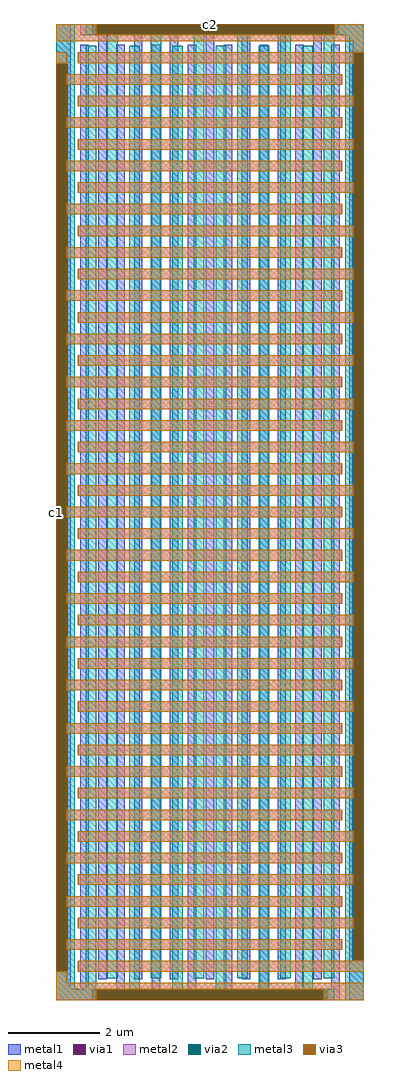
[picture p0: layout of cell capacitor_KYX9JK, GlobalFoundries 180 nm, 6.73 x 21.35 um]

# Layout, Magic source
magic
tech gf180mcuD
magscale 3 26
<< metal1 >>
rect 0 3552 55 3700
rect 91 3699 1166 3700
rect 91 3659 137 3699
rect 1069 3659 1166 3699
rect 91 3658 1166 3659
rect 0 108 1 3552
rect 41 108 55 3552
rect 0 42 55 108
rect 91 42 123 3622
rect 159 78 191 3658
rect 227 42 259 3622
rect 295 78 327 3658
rect 363 42 395 3622
rect 431 78 463 3658
rect 499 42 531 3622
rect 567 78 599 3658
rect 635 42 667 3622
rect 703 78 735 3658
rect 771 42 803 3622
rect 839 78 871 3658
rect 907 42 939 3622
rect 975 78 1007 3658
rect 1043 42 1075 3622
rect 0 41 1075 42
rect 0 1 137 41
rect 1029 1 1075 41
rect 0 0 1075 1
rect 1111 3592 1166 3658
rect 1111 148 1125 3592
rect 1165 148 1166 3592
rect 1111 0 1166 148
<< via1 >>
rect 137 3659 1069 3699
rect 1 108 41 3552
rect 137 1 1029 41
rect 1125 148 1165 3592
<< metal2 >>
rect 0 3699 152 3700
rect 1054 3699 1166 3700
rect 0 3659 137 3699
rect 1069 3659 1166 3699
rect 0 3634 1166 3659
rect 1125 3592 1166 3634
rect 0 3552 41 3592
rect 84 3552 1125 3592
rect 41 3470 1082 3510
rect 84 3388 1125 3428
rect 41 3306 1082 3346
rect 84 3224 1125 3264
rect 41 3142 1082 3182
rect 84 3060 1125 3100
rect 41 2978 1082 3018
rect 84 2896 1125 2936
rect 41 2814 1082 2854
rect 84 2732 1125 2772
rect 41 2650 1082 2690
rect 84 2568 1125 2608
rect 41 2486 1082 2526
rect 84 2404 1125 2444
rect 41 2322 1082 2362
rect 84 2240 1125 2280
rect 41 2158 1082 2198
rect 84 2076 1125 2116
rect 41 1994 1082 2034
rect 84 1912 1125 1952
rect 41 1830 1082 1870
rect 84 1748 1125 1788
rect 41 1666 1082 1706
rect 84 1584 1125 1624
rect 41 1502 1082 1542
rect 84 1420 1125 1460
rect 41 1338 1082 1378
rect 84 1256 1125 1296
rect 41 1174 1082 1214
rect 84 1092 1125 1132
rect 41 1010 1082 1050
rect 84 928 1125 968
rect 41 846 1082 886
rect 84 764 1125 804
rect 41 682 1082 722
rect 84 600 1125 640
rect 41 518 1082 558
rect 84 436 1125 476
rect 41 354 1082 394
rect 84 272 1125 312
rect 41 190 1082 230
rect 84 108 1166 148
rect 0 66 41 108
rect 0 41 1166 66
rect 0 1 137 41
rect 1029 1 1166 41
rect 0 0 152 1
rect 1014 0 1166 1
<< via2 >>
rect 152 3699 1054 3700
rect 152 3660 1054 3699
rect 0 108 1 3552
rect 1 108 40 3552
rect 1126 148 1165 3592
rect 1165 148 1166 3592
rect 152 1 1014 40
rect 152 0 1014 1
<< metal3 >>
rect 0 3552 70 3700
rect 112 3660 152 3700
rect 1054 3660 1166 3700
rect 40 108 70 3552
rect 0 40 70 108
rect 112 40 152 3618
rect 194 82 234 3660
rect 276 40 316 3618
rect 358 82 398 3660
rect 440 40 480 3618
rect 522 82 562 3660
rect 604 40 644 3618
rect 686 82 726 3660
rect 768 40 808 3618
rect 850 82 890 3660
rect 932 40 972 3618
rect 1014 82 1054 3660
rect 1096 3592 1166 3660
rect 1096 148 1126 3592
rect 0 0 152 40
rect 1014 0 1054 40
rect 1096 0 1166 148
<< via3 >>
rect 152 3660 1054 3700
rect 0 108 40 3552
rect 1126 148 1166 3592
rect 152 0 1014 40
<< metal4 >>
rect 0 3660 152 3700
rect 1054 3660 1166 3700
rect 0 3634 1166 3660
rect 1126 3592 1166 3634
rect 0 3552 40 3592
rect 82 3552 1126 3592
rect 40 3470 1084 3510
rect 82 3388 1126 3428
rect 40 3306 1084 3346
rect 82 3224 1126 3264
rect 40 3142 1084 3182
rect 82 3060 1126 3100
rect 40 2978 1084 3018
rect 82 2896 1126 2936
rect 40 2814 1084 2854
rect 82 2732 1126 2772
rect 40 2650 1084 2690
rect 82 2568 1126 2608
rect 40 2486 1084 2526
rect 82 2404 1126 2444
rect 40 2322 1084 2362
rect 82 2240 1126 2280
rect 40 2158 1084 2198
rect 82 2076 1126 2116
rect 40 1994 1084 2034
rect 82 1912 1126 1952
rect 40 1830 1084 1870
rect 82 1748 1126 1788
rect 40 1666 1084 1706
rect 82 1584 1126 1624
rect 40 1502 1084 1542
rect 82 1420 1126 1460
rect 40 1338 1084 1378
rect 82 1256 1126 1296
rect 40 1174 1084 1214
rect 82 1092 1126 1132
rect 40 1010 1084 1050
rect 82 928 1126 968
rect 40 846 1084 886
rect 82 764 1126 804
rect 40 682 1084 722
rect 82 600 1126 640
rect 40 518 1084 558
rect 82 436 1126 476
rect 40 354 1084 394
rect 82 272 1126 312
rect 40 190 1084 230
rect 82 108 1166 148
rect 0 66 40 108
rect 0 40 1166 66
rect 0 0 152 40
rect 1014 0 1166 40
<< labels >>
rlabel via3 2 1850 2 1850 0 c1
port 1 nsew
rlabel via3 583 3698 583 3698 0 c2
port 2 nsew
<< properties >>
string device csubckt cap_cmomf 0 0 1 1 w=5.83u l=18.5u mmin=1 mmax=4 subblock=0 mm_ok=1 c1 0 0 c2 0 0
string FIXED_BBOX 0 0 1166 3700
string gencell cap_cmomf
string library gf180mcu
string parameters w 5.83 l 18.5 value 9.28 class capacitor mmin 1 mmax 4 square 1 subblock 0 lmin 2.00 wmin 2.00 lmax 100.0 wmax 100.0 val {}
<< end >>
